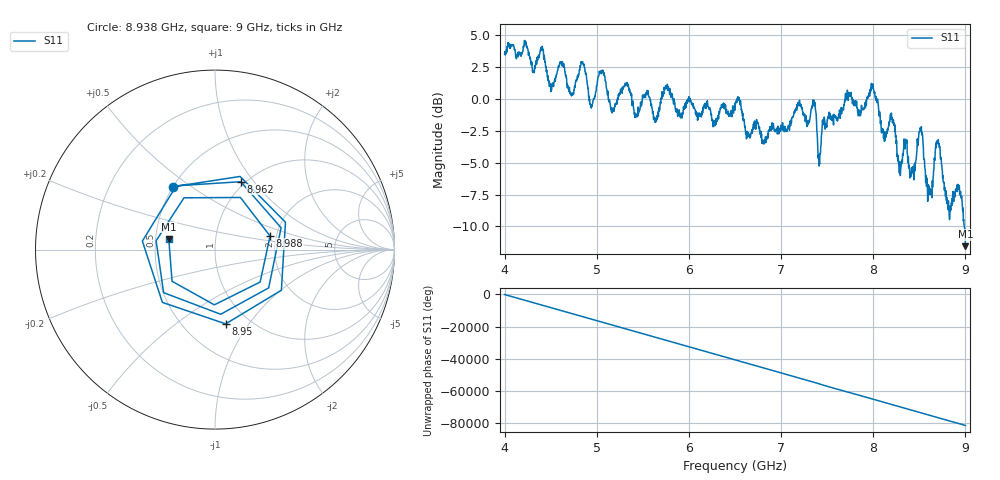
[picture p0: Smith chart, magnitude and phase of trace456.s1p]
! Created with skrf 1.8.0 (http://scikit-rf.org).
# Hz S RI R 50.0
!freq ReS11 ImS11
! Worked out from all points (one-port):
!   1601 points, 4 GHz to 9 GHz, reference 50 ohm
!   lowest |S11| = -11.6 dB at 9 GHz (marker M1), VSWR 1.72, Z = 29.3 + j3.77 ohm
!   |S11| at or under -10 dB: 8.987915 GHz to end of sweep
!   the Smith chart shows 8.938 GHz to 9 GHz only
!   S11 on the Smith chart (normalised r, x): 8.938 GHz: 0.50, +0.43; 8.95 GHz: 0.78, -0.78; 8.962 GHz: 0.95, +0.86; 8.988 GHz: 1.85, +0.31; 9 GHz: 0.59, +0.08
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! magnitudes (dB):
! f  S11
! 4 GHz  3.5
! 4.406 GHz  3.8
! 4.509 GHz  0.7
! 4.625 GHz  2.9
! 4.722 GHz  0.3
! 4.844 GHz  2.9
! 4.938 GHz  -0.6
! 5.053 GHz  2.1
! 5.169 GHz  -1.0
! 5.25 GHz  0.4
! 5.875 GHz  -1.0
! 6.5 GHz  -0.3
! 6.816 GHz  -3.5
! 7.125 GHz  -1.4
! 7.356 GHz  -0.5
! 7.416 GHz  -5.0
! 7.75 GHz  0.3
! 7.991 GHz  1.1
! 8.375 GHz  -4.9
! 8.516 GHz  -2.3
! 8.612 GHz  -7.5
! 8.7 GHz  -3.5
! 8.819 GHz  -8.7
! 8.938 GHz  -7.5
! 8.95 GHz  -7.6
! 8.962 GHz  -7.9
! 8.988 GHz  -10.0
! 9 GHz  -11.6
